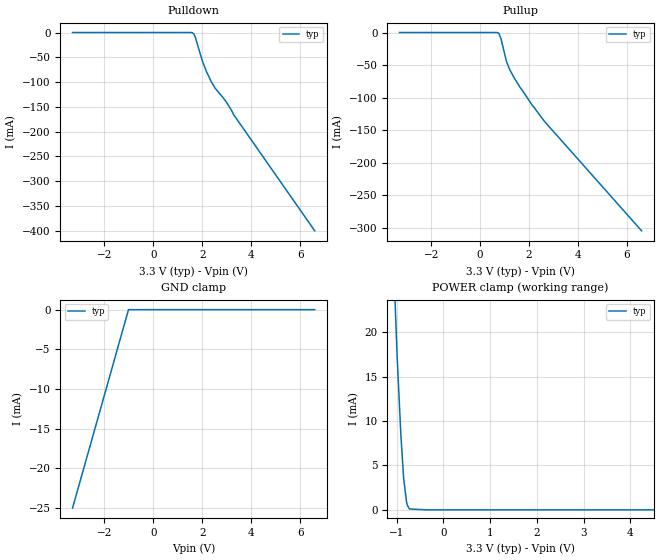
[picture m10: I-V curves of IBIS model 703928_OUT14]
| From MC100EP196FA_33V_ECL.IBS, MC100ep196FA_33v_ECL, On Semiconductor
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| (C) COPYRIGHT 1993-2001
| MENTOR GRAPHICS CORPORATION
| ICX STANDARD LIBRARY, ICX PROJECT MODELING,
| ICX CUSTOM MODELING, ICX VENDOR MODEL
| ALL RIGHTS RESERVED.
| THE FOLLOWING ARE TRADEMARKS OR SERVICE MARKS OF
| MENTOR GRAPHICS CORPORATION:ICX (R), ICX STANDARD
| LIBRARY(R), ICX PROJECT MODELING(R), ICX CUSTOM
| MODELING(R), qualityIBIS(TM), MODELVIEWER(TM),
| AND MODELEDITOR(TM)
| ALL COPIES OF SOFTWARE, INCLUDING BUT NOT LIMITED TO
| ANY MODIFICATIONS, ENHANCEMENTS OR DERIVATIVE WORKS,
| MUST CONTAIN ALL MENTOR GRAPHICS CORPORATION'S
| NOTICES AND LEGENDS, INCLUDING THOSE EMBEDDED IN
| SOFTWARE AND THOSE AFFIXED TO SOFTWARE MEDIUM
| AND CONTAINER, AS RECEIVED FROM MENTOR GRAPHICS
| CORPORATION.
| Model Application Version 1.89 2/18/99.
[Model] 703928_OUT14
Model_type Output_ECL
Vref=1.300V
Rref=50.00ohms
Cref=0.000F
Vmeas=1.955V
C_comp 8.000pF NA NA
| variable typ   min   max
[Voltage Range] 3.300V NA NA
[POWER Clamp Reference] 3.300V NA NA
[Pullup Reference] 3.300V NA NA
[Pulldown Reference] 3.300V NA NA
[GND Clamp Reference] 0.000V NA NA
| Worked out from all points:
|   POWER clamp passes 1 mA (typ) near -0.79 V on its own axis
[GND Clamp]
-3.3V     -24.98mA   NA         NA
-1.013V   0A         NA         NA
6.6V      0A         NA         NA
[Pulldown]
-3.3V     0A         NA         NA
1.598V    -500uA     NA         NA
1.658V    -3mA       NA         NA
1.719V    -9.8mA     NA         NA
2.003V    -57.2mA    NA         NA
2.185V    -80.4mA    NA         NA
2.368V    -99.1mA    NA         NA
2.53V     -112.7mA   NA         NA
2.996V    -141.2mA   NA         NA
3.199V    -157.4mA   NA         NA
3.28V     -165.6mA   NA         NA
6.6V      -400.6mA   NA         NA
[Pullup]
-3.3V     0A         NA         NA
731mV     -500uA     NA         NA
772mV     -1.8mA     NA         NA
853mV     -9.8mA     NA         NA
1.076V    -44.7mA    NA         NA
1.218V    -57.8mA    NA         NA
1.643V    -84.9mA    NA         NA
2.13V     -111.8mA   NA         NA
2.636V    -136.8mA   NA         NA
6.6V      -304.6mA   NA         NA
[POWER Clamp]
-3.3V     451mA      NA         NA
-1.398V   83.2mA     NA         NA
-1.134V   37.6mA     NA         NA
-992mV    17.5mA     NA         NA
-911mV    8.5mA      NA         NA
-850mV    3.5mA      NA         NA
-789mV    900uA      NA         NA
-769mV    500uA      NA         NA
-728mV    100uA      NA         NA
-364mV    0A         NA         NA
6.6V      0A         NA         NA
[Ramp]
| variable typ min max
dV/dt_r 339.7m/205.7p NA NA
dV/dt_f 339.7m/166.5p NA NA
R_load = 50.00Ohms
